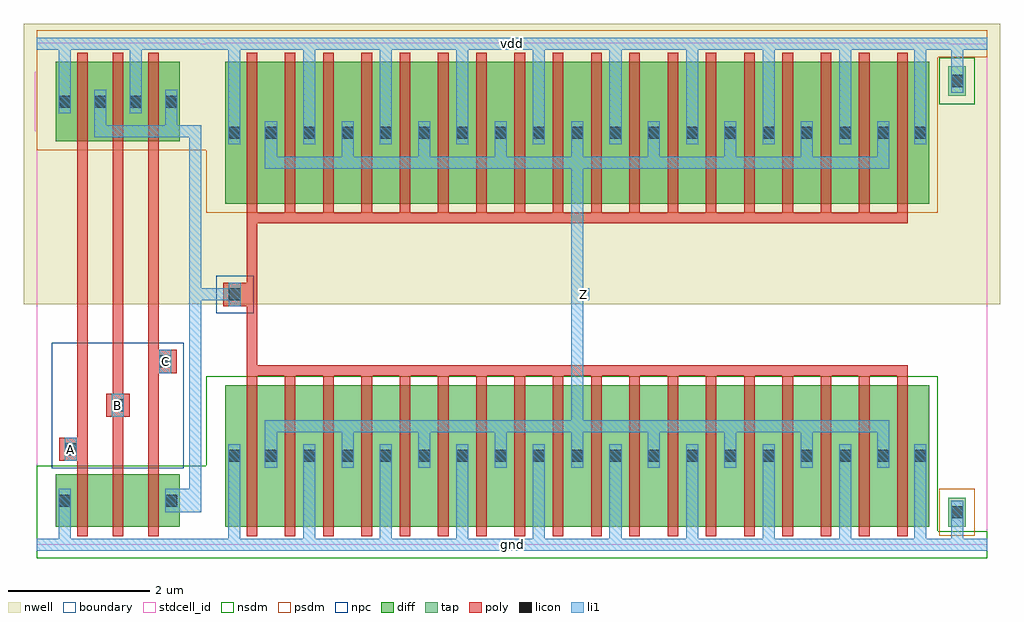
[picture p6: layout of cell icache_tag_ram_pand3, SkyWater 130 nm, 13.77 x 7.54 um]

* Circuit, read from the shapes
.subckt icache_tag_ram_pand3 A B C Z gnd vdd
XM1 icache_tag_ram_pnand3_0/icache_tag_ram_nmos_m1_w0_740_sli_dactive_3/D A gnd gnd sky130_fd_pr__nfet_01v8 w=0.74 l=0.15
XM2 icache_tag_ram_pnand3_0/icache_tag_ram_nmos_m1_w0_740_sactive_dactive_4/D B icache_tag_ram_pnand3_0/icache_tag_ram_nmos_m1_w0_740_sli_dactive_3/D gnd sky130_fd_pr__nfet_01v8 w=0.74 l=0.15
XM3 icache_tag_ram_pdriver_2_1/A C icache_tag_ram_pnand3_0/icache_tag_ram_nmos_m1_w0_740_sactive_dactive_4/D gnd sky130_fd_pr__nfet_01v8 w=0.74 l=0.15
XM4 Z icache_tag_ram_pdriver_2_1/A gnd gnd sky130_fd_pr__nfet_01v8 w=2 l=0.15 m=18
XM5 icache_tag_ram_pdriver_2_1/A A vdd vdd sky130_fd_pr__pfet_01v8 w=1.12 l=0.15
XM6 vdd B icache_tag_ram_pdriver_2_1/A vdd sky130_fd_pr__pfet_01v8 w=1.12 l=0.15
XM7 icache_tag_ram_pdriver_2_1/A C vdd vdd sky130_fd_pr__pfet_01v8 w=1.12 l=0.15
XM8 Z icache_tag_ram_pdriver_2_1/A vdd vdd sky130_fd_pr__pfet_01v8 w=2 l=0.15 m=18
.ends

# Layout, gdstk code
import gdstk
lib = gdstk.Library(unit=1e-6, precision=1e-09)
def R(c, l, rs):  # rectangles x0, y0, x1, y1
    for r in rs: c.add(gdstk.rectangle(r[:2], r[2:], *l))
def A(c, l, x, y, w, h, nx, ny, dx, dy):  # array of equal rectangles
    R(c, l, [(x+i*dx, y+j*dy, x+i*dx+w, y+j*dy+h) for i in range(nx) for j in range(ny)])
nwell = (64, 20)
diff = (65, 20)
tap = (65, 44)
poly = (66, 20)
licon = (66, 44)
li1 = (67, 20)
stdcell_id = (81, 4)
nsdm = (93, 44)
psdm = (94, 20)
npc = (95, 20)
boundary = (235, 4)

icache_tag_ram_contact_1 = lib.new_cell('icache_tag_ram_contact_11')
R(icache_tag_ram_contact_1, nwell, [(-0.295,-0.255,0.545,0.585)])
R(icache_tag_ram_contact_1, diff, [(0,0.02,0.25,0.31)])
R(icache_tag_ram_contact_1, licon, [(0.04,0.08,0.21,0.25)])
R(icache_tag_ram_contact_1, li1, [(0.04,0,0.21,0.33)])
R(icache_tag_ram_contact_1, stdcell_id, [(-0.295,-0.255,0.545,0.585)])
R(icache_tag_ram_contact_1, psdm, [(-0.125,-0.105,0.375,0.435)])
R(icache_tag_ram_contact_1, boundary, [(-0.295,-0.255,0.545,0.585)])

icache_tag_ram_pmos_m1_w = lib.new_cell('icache_tag_ram_pmos_m1_w1_120_sli_dli')
R(icache_tag_ram_pmos_m1_w, nwell, [(-0.27,-0.27,1.02,1.39)])
R(icache_tag_ram_pmos_m1_w, diff, [(0,0,0.75,1.12)])
R(icache_tag_ram_pmos_m1_w, poly, [(0.3,-0.13,0.45,1.25), (0.3,-0.13,0.45,1.25)])
R(icache_tag_ram_pmos_m1_w, li1, [(0.04,0.395,0.21,0.725), (0.54,0.395,0.71,0.725)])
R(icache_tag_ram_pmos_m1_w, stdcell_id, [(-0.27,-0.27,1.02,1.39)])
R(icache_tag_ram_pmos_m1_w, psdm, [(-0.125,-0.125,0.875,1.245)])
R(icache_tag_ram_pmos_m1_w, boundary, [(-0.27,-0.27,1.02,1.39)])
icache_tag_ram_pmos_m1_w.add(gdstk.Reference(icache_tag_ram_contact_1, (0,0.395)))
icache_tag_ram_pmos_m1_w.add(gdstk.Reference(icache_tag_ram_contact_1, (0.5,0.395)))
icache_tag_ram_pmos_m1_w.add(gdstk.Label('G', (0.375,0.56), layer=66, texttype=5))
icache_tag_ram_pmos_m1_w.add(gdstk.Label('S', (0.125,0.56), layer=67, texttype=5))
icache_tag_ram_pmos_m1_w.add(gdstk.Label('D', (0.625,0.56), layer=67, texttype=5))

c_icache_tag_ram_contact_1 = lib.new_cell('icache_tag_ram_contact_10')
R(c_icache_tag_ram_contact_1, diff, [(0,0.02,0.25,0.31)])
R(c_icache_tag_ram_contact_1, licon, [(0.04,0.08,0.21,0.25)])
R(c_icache_tag_ram_contact_1, li1, [(0.04,0,0.21,0.33)])
R(c_icache_tag_ram_contact_1, stdcell_id, [(-0.125,-0.105,0.375,0.435)])
R(c_icache_tag_ram_contact_1, nsdm, [(-0.125,-0.105,0.375,0.435)])
R(c_icache_tag_ram_contact_1, boundary, [(-0.125,-0.105,0.375,0.435)])

icache_tag_ram_nmos_m1_w = lib.new_cell('icache_tag_ram_nmos_m1_w0_740_sli_dactive')
R(icache_tag_ram_nmos_m1_w, diff, [(0,0,0.75,0.74), (0.55,0.295,0.7,0.445)])
R(icache_tag_ram_nmos_m1_w, poly, [(0.3,-0.13,0.45,0.87), (0.3,-0.13,0.45,0.87)])
R(icache_tag_ram_nmos_m1_w, li1, [(0.04,0.205,0.21,0.535)])
R(icache_tag_ram_nmos_m1_w, stdcell_id, [(-0.125,-0.13,0.875,0.87)])
R(icache_tag_ram_nmos_m1_w, nsdm, [(-0.125,-0.125,0.875,0.865)])
R(icache_tag_ram_nmos_m1_w, boundary, [(-0.125,-0.13,0.875,0.87)])
icache_tag_ram_nmos_m1_w.add(gdstk.Reference(c_icache_tag_ram_contact_1, (0,0.205)))
icache_tag_ram_nmos_m1_w.add(gdstk.Label('G', (0.375,0.37), layer=66, texttype=5))
icache_tag_ram_nmos_m1_w.add(gdstk.Label('S', (0.125,0.37), layer=67, texttype=5))
icache_tag_ram_nmos_m1_w.add(gdstk.Label('D', (0.625,0.37), layer=65, texttype=5))

c_icache_tag_ram_nmos_m1_w = lib.new_cell('icache_tag_ram_nmos_m1_w0_740_sactive_dactive')
R(c_icache_tag_ram_nmos_m1_w, diff, [(0,0,0.75,0.74), (0.05,0.295,0.2,0.445), (0.55,0.295,0.7,0.445)])
R(c_icache_tag_ram_nmos_m1_w, poly, [(0.3,-0.13,0.45,0.87), (0.3,-0.13,0.45,0.87)])
R(c_icache_tag_ram_nmos_m1_w, stdcell_id, [(-0.125,-0.13,0.875,0.87)])
R(c_icache_tag_ram_nmos_m1_w, nsdm, [(-0.125,-0.125,0.875,0.865)])
R(c_icache_tag_ram_nmos_m1_w, boundary, [(-0.125,-0.13,0.875,0.87)])
c_icache_tag_ram_nmos_m1_w.add(gdstk.Label('G', (0.375,0.37), layer=66, texttype=5))
c_icache_tag_ram_nmos_m1_w.add(gdstk.Label('S', (0.125,0.37), layer=65, texttype=5))
c_icache_tag_ram_nmos_m1_w.add(gdstk.Label('D', (0.625,0.37), layer=65, texttype=5))

c_icache_tag_ram_nmos_m1_w_ = lib.new_cell('icache_tag_ram_nmos_m1_w0_740_sactive_dli')
R(c_icache_tag_ram_nmos_m1_w_, diff, [(0,0,0.75,0.74), (0.05,0.295,0.2,0.445)])
R(c_icache_tag_ram_nmos_m1_w_, poly, [(0.3,-0.13,0.45,0.87), (0.3,-0.13,0.45,0.87)])
R(c_icache_tag_ram_nmos_m1_w_, li1, [(0.54,0.205,0.71,0.535)])
R(c_icache_tag_ram_nmos_m1_w_, stdcell_id, [(-0.125,-0.13,0.875,0.87)])
R(c_icache_tag_ram_nmos_m1_w_, nsdm, [(-0.125,-0.125,0.875,0.865)])
R(c_icache_tag_ram_nmos_m1_w_, boundary, [(-0.125,-0.13,0.875,0.87)])
c_icache_tag_ram_nmos_m1_w_.add(gdstk.Reference(c_icache_tag_ram_contact_1, (0.5,0.205)))
c_icache_tag_ram_nmos_m1_w_.add(gdstk.Label('G', (0.375,0.37), layer=66, texttype=5))
c_icache_tag_ram_nmos_m1_w_.add(gdstk.Label('S', (0.125,0.37), layer=65, texttype=5))
c_icache_tag_ram_nmos_m1_w_.add(gdstk.Label('D', (0.625,0.37), layer=67, texttype=5))

c_icache_tag_ram_contact_1_ = lib.new_cell('icache_tag_ram_contact_15')
R(c_icache_tag_ram_contact_1_, poly, [(0,0,0.33,0.33)])
R(c_icache_tag_ram_contact_1_, licon, [(0.08,0.08,0.25,0.25)])
R(c_icache_tag_ram_contact_1_, li1, [(0.08,0,0.25,0.33)])
R(c_icache_tag_ram_contact_1_, stdcell_id, [(-0.1,-0.1,0.43,0.43)])
R(c_icache_tag_ram_contact_1_, npc, [(-0.1,-0.1,0.43,0.43)])
R(c_icache_tag_ram_contact_1_, boundary, [(-0.1,-0.1,0.43,0.43)])

icache_tag_ram_pnand3 = lib.new_cell('icache_tag_ram_pnand3')
R(icache_tag_ram_pnand3, nwell, [(-0.18,3.395,2.57,7.355)])
A(icache_tag_ram_pnand3, poly, 0.57, 1.125, 0.15, 4.44, 3, 1, 0.5, 0)
R(icache_tag_ram_pnand3, poly, [(0.48,1.185,0.57,1.515), (1.07,1.805,1.145,2.135), (1.57,2.425,1.81,2.755)])
R(icache_tag_ram_pnand3, li1, [(0,-0.085,2.39,0.085), (0.31,-0.085,0.48,0.46), (1.895,0.46,2.235,0.79), (2.15,0.46,2.32,5.835), (0.395,1.185,0.565,1.515), (1.06,1.805,1.23,2.135), (1.725,2.425,1.895,2.755), (0.81,5.75,0.98,5.92), (0.895,5.75,2.235,5.92), (1.81,5.75,1.98,5.92), (1.895,5.75,2.235,5.92), (2.15,5.75,2.32,5.92), (0.81,5.835,0.98,6.255), (1.81,5.835,1.98,6.255), (0.31,6.09,0.48,7.155), (1.31,6.09,1.48,7.155), (0,6.985,2.39,7.155)])
R(icache_tag_ram_pnand3, stdcell_id, [(0,0,2.39,7.07), (0,0,2.39,7.07)])
R(icache_tag_ram_pnand3, nsdm, [(0,-0.19,2.39,0.19), (0,0,2.39,1.12)])
R(icache_tag_ram_pnand3, psdm, [(0,5.57,2.39,7.07), (0,6.88,2.39,7.26)])
R(icache_tag_ram_pnand3, npc, [(0.215,1.085,2.075,2.855)])
R(icache_tag_ram_pnand3, boundary, [(0,0,2.39,7.07), (0,0,2.39,7.07)])
icache_tag_ram_pnand3.add(gdstk.Reference(icache_tag_ram_pmos_m1_w, (0.27,5.695)))
icache_tag_ram_pnand3.add(gdstk.Reference(icache_tag_ram_pmos_m1_w, (0.77,5.695)))
icache_tag_ram_pnand3.add(gdstk.Reference(icache_tag_ram_pmos_m1_w, (1.27,5.695)))
icache_tag_ram_pnand3.add(gdstk.Reference(icache_tag_ram_nmos_m1_w, (0.27,0.255)))
icache_tag_ram_pnand3.add(gdstk.Reference(c_icache_tag_ram_nmos_m1_w, (0.77,0.255)))
icache_tag_ram_pnand3.add(gdstk.Reference(c_icache_tag_ram_nmos_m1_w_, (1.27,0.255)))
icache_tag_ram_pnand3.add(gdstk.Reference(c_icache_tag_ram_contact_1_, (0.315,1.185)))
icache_tag_ram_pnand3.add(gdstk.Reference(c_icache_tag_ram_contact_1_, (0.98,1.805)))
icache_tag_ram_pnand3.add(gdstk.Reference(c_icache_tag_ram_contact_1_, (1.645,2.425)))
icache_tag_ram_pnand3.add(gdstk.Label('A', (0.48,1.35), layer=67, texttype=5))
icache_tag_ram_pnand3.add(gdstk.Label('B', (1.145,1.97), layer=67, texttype=5))
icache_tag_ram_pnand3.add(gdstk.Label('C', (1.81,2.59), layer=67, texttype=5))
icache_tag_ram_pnand3.add(gdstk.Label('Z', (2.235,5.835), layer=67, texttype=5))
icache_tag_ram_pnand3.add(gdstk.Label('gnd', (1.195,0), layer=67, texttype=5))
icache_tag_ram_pnand3.add(gdstk.Label('vdd', (1.195,7.07), layer=67, texttype=5))

icache_tag_ram_pmos_m18_ = lib.new_cell('icache_tag_ram_pmos_m18_w2_000_sli_dli_da_p')
R(icache_tag_ram_pmos_m18_, nwell, [(-0.27,-0.27,10.2,2.27)])
R(icache_tag_ram_pmos_m18_, diff, [(0,0,9.93,2)])
A(icache_tag_ram_pmos_m18_, poly, 0.3, -0.13, 0.15, 2.26, 18, 1, 0.54, 0)
R(icache_tag_ram_pmos_m18_, poly, [(0.3,-0.28,9.63,-0.13)])
A(icache_tag_ram_pmos_m18_, li1, 0.56, 0.58, 0.17, 0.42, 9, 1, 1.08, 0)
A(icache_tag_ram_pmos_m18_, li1, 1.1, 0.835, 0.17, 0.33, 8, 1, 1.08, 0)
R(icache_tag_ram_pmos_m18_, li1, [(0.56,0.495,9.37,0.665), (0.04,0.835,0.21,1.165), (9.72,0.835,9.89,1.165)])
R(icache_tag_ram_pmos_m18_, stdcell_id, [(-0.27,-0.28,10.2,2.27)])
R(icache_tag_ram_pmos_m18_, psdm, [(-0.125,-0.125,10.055,2.125)])
R(icache_tag_ram_pmos_m18_, boundary, [(-0.27,-0.28,10.2,2.27)])
icache_tag_ram_pmos_m18_.add(gdstk.Reference(icache_tag_ram_contact_1, (0,0.835)))
icache_tag_ram_pmos_m18_.add(gdstk.Reference(icache_tag_ram_contact_1, (0.52,0.835)))
icache_tag_ram_pmos_m18_.add(gdstk.Reference(icache_tag_ram_contact_1, (1.06,0.835)))
icache_tag_ram_pmos_m18_.add(gdstk.Reference(icache_tag_ram_contact_1, (1.6,0.835)))
icache_tag_ram_pmos_m18_.add(gdstk.Reference(icache_tag_ram_contact_1, (2.14,0.835)))
icache_tag_ram_pmos_m18_.add(gdstk.Reference(icache_tag_ram_contact_1, (2.68,0.835)))
icache_tag_ram_pmos_m18_.add(gdstk.Reference(icache_tag_ram_contact_1, (3.22,0.835)))
icache_tag_ram_pmos_m18_.add(gdstk.Reference(icache_tag_ram_contact_1, (3.76,0.835)))
icache_tag_ram_pmos_m18_.add(gdstk.Reference(icache_tag_ram_contact_1, (4.3,0.835)))
icache_tag_ram_pmos_m18_.add(gdstk.Reference(icache_tag_ram_contact_1, (4.84,0.835)))
icache_tag_ram_pmos_m18_.add(gdstk.Reference(icache_tag_ram_contact_1, (5.38,0.835)))
icache_tag_ram_pmos_m18_.add(gdstk.Reference(icache_tag_ram_contact_1, (5.92,0.835)))
icache_tag_ram_pmos_m18_.add(gdstk.Reference(icache_tag_ram_contact_1, (6.46,0.835)))
icache_tag_ram_pmos_m18_.add(gdstk.Reference(icache_tag_ram_contact_1, (7,0.835)))
icache_tag_ram_pmos_m18_.add(gdstk.Reference(icache_tag_ram_contact_1, (7.54,0.835)))
icache_tag_ram_pmos_m18_.add(gdstk.Reference(icache_tag_ram_contact_1, (8.08,0.835)))
icache_tag_ram_pmos_m18_.add(gdstk.Reference(icache_tag_ram_contact_1, (8.62,0.835)))
icache_tag_ram_pmos_m18_.add(gdstk.Reference(icache_tag_ram_contact_1, (9.16,0.835)))
icache_tag_ram_pmos_m18_.add(gdstk.Reference(icache_tag_ram_contact_1, (9.68,0.835)))
icache_tag_ram_pmos_m18_.add(gdstk.Label('G', (4.965,-0.205), layer=66, texttype=5))
icache_tag_ram_pmos_m18_.add(gdstk.Label('S', (4.425,1), layer=67, texttype=5))
icache_tag_ram_pmos_m18_.add(gdstk.Label('S', (2.265,1), layer=67, texttype=5))
icache_tag_ram_pmos_m18_.add(gdstk.Label('S', (7.665,1), layer=67, texttype=5))
icache_tag_ram_pmos_m18_.add(gdstk.Label('S', (8.745,1), layer=67, texttype=5))
icache_tag_ram_pmos_m18_.add(gdstk.Label('S', (9.805,1), layer=67, texttype=5))
icache_tag_ram_pmos_m18_.add(gdstk.Label('S', (5.505,1), layer=67, texttype=5))
icache_tag_ram_pmos_m18_.add(gdstk.Label('S', (0.125,1), layer=67, texttype=5))
icache_tag_ram_pmos_m18_.add(gdstk.Label('S', (3.345,1), layer=67, texttype=5))
icache_tag_ram_pmos_m18_.add(gdstk.Label('S', (1.185,1), layer=67, texttype=5))
icache_tag_ram_pmos_m18_.add(gdstk.Label('S', (6.585,1), layer=67, texttype=5))
icache_tag_ram_pmos_m18_.add(gdstk.Label('D', (4.965,0.58), layer=67, texttype=5))

icache_tag_ram_nmos_m18_ = lib.new_cell('icache_tag_ram_nmos_m18_w2_000_sli_dli_da_p')
R(icache_tag_ram_nmos_m18_, diff, [(0,0,9.93,2)])
A(icache_tag_ram_nmos_m18_, poly, 0.3, -0.13, 0.15, 2.26, 18, 1, 0.54, 0)
R(icache_tag_ram_nmos_m18_, poly, [(0.3,2.13,9.63,2.28)])
A(icache_tag_ram_nmos_m18_, li1, 1.1, 0.835, 0.17, 0.33, 8, 1, 1.08, 0)
A(icache_tag_ram_nmos_m18_, li1, 0.56, 1, 0.17, 0.42, 9, 1, 1.08, 0)
R(icache_tag_ram_nmos_m18_, li1, [(0.04,0.835,0.21,1.165), (9.72,0.835,9.89,1.165), (0.56,1.335,9.37,1.505)])
R(icache_tag_ram_nmos_m18_, stdcell_id, [(-0.125,-0.13,10.055,2.28)])
R(icache_tag_ram_nmos_m18_, nsdm, [(-0.125,-0.125,10.055,2.125)])
R(icache_tag_ram_nmos_m18_, boundary, [(-0.125,-0.13,10.055,2.28)])
icache_tag_ram_nmos_m18_.add(gdstk.Reference(c_icache_tag_ram_contact_1, (0,0.835)))
icache_tag_ram_nmos_m18_.add(gdstk.Reference(c_icache_tag_ram_contact_1, (0.52,0.835)))
icache_tag_ram_nmos_m18_.add(gdstk.Reference(c_icache_tag_ram_contact_1, (1.06,0.835)))
icache_tag_ram_nmos_m18_.add(gdstk.Reference(c_icache_tag_ram_contact_1, (1.6,0.835)))
icache_tag_ram_nmos_m18_.add(gdstk.Reference(c_icache_tag_ram_contact_1, (2.14,0.835)))
icache_tag_ram_nmos_m18_.add(gdstk.Reference(c_icache_tag_ram_contact_1, (2.68,0.835)))
icache_tag_ram_nmos_m18_.add(gdstk.Reference(c_icache_tag_ram_contact_1, (3.22,0.835)))
icache_tag_ram_nmos_m18_.add(gdstk.Reference(c_icache_tag_ram_contact_1, (3.76,0.835)))
icache_tag_ram_nmos_m18_.add(gdstk.Reference(c_icache_tag_ram_contact_1, (4.3,0.835)))
icache_tag_ram_nmos_m18_.add(gdstk.Reference(c_icache_tag_ram_contact_1, (4.84,0.835)))
icache_tag_ram_nmos_m18_.add(gdstk.Reference(c_icache_tag_ram_contact_1, (5.38,0.835)))
icache_tag_ram_nmos_m18_.add(gdstk.Reference(c_icache_tag_ram_contact_1, (5.92,0.835)))
icache_tag_ram_nmos_m18_.add(gdstk.Reference(c_icache_tag_ram_contact_1, (6.46,0.835)))
icache_tag_ram_nmos_m18_.add(gdstk.Reference(c_icache_tag_ram_contact_1, (7,0.835)))
icache_tag_ram_nmos_m18_.add(gdstk.Reference(c_icache_tag_ram_contact_1, (7.54,0.835)))
icache_tag_ram_nmos_m18_.add(gdstk.Reference(c_icache_tag_ram_contact_1, (8.08,0.835)))
icache_tag_ram_nmos_m18_.add(gdstk.Reference(c_icache_tag_ram_contact_1, (8.62,0.835)))
icache_tag_ram_nmos_m18_.add(gdstk.Reference(c_icache_tag_ram_contact_1, (9.16,0.835)))
icache_tag_ram_nmos_m18_.add(gdstk.Reference(c_icache_tag_ram_contact_1, (9.68,0.835)))
icache_tag_ram_nmos_m18_.add(gdstk.Label('G', (4.965,2.205), layer=66, texttype=5))
icache_tag_ram_nmos_m18_.add(gdstk.Label('S', (4.425,1), layer=67, texttype=5))
icache_tag_ram_nmos_m18_.add(gdstk.Label('S', (2.265,1), layer=67, texttype=5))
icache_tag_ram_nmos_m18_.add(gdstk.Label('S', (7.665,1), layer=67, texttype=5))
icache_tag_ram_nmos_m18_.add(gdstk.Label('S', (8.745,1), layer=67, texttype=5))
icache_tag_ram_nmos_m18_.add(gdstk.Label('S', (9.805,1), layer=67, texttype=5))
icache_tag_ram_nmos_m18_.add(gdstk.Label('S', (5.505,1), layer=67, texttype=5))
icache_tag_ram_nmos_m18_.add(gdstk.Label('S', (0.125,1), layer=67, texttype=5))
icache_tag_ram_nmos_m18_.add(gdstk.Label('S', (3.345,1), layer=67, texttype=5))
icache_tag_ram_nmos_m18_.add(gdstk.Label('S', (1.185,1), layer=67, texttype=5))
icache_tag_ram_nmos_m18_.add(gdstk.Label('S', (6.585,1), layer=67, texttype=5))
icache_tag_ram_nmos_m18_.add(gdstk.Label('D', (4.965,1.42), layer=67, texttype=5))

icache_tag_ram_contact_2 = lib.new_cell('icache_tag_ram_contact_24')
R(icache_tag_ram_contact_2, nwell, [(-0.295,-0.215,0.545,0.625)])
R(icache_tag_ram_contact_2, tap, [(0,0,0.25,0.41)])
R(icache_tag_ram_contact_2, licon, [(0.04,0.12,0.21,0.29)])
R(icache_tag_ram_contact_2, li1, [(0.04,0.04,0.21,0.37)])
R(icache_tag_ram_contact_2, stdcell_id, [(-0.295,-0.215,0.545,0.625)])
R(icache_tag_ram_contact_2, nsdm, [(-0.125,-0.125,0.375,0.535)])
R(icache_tag_ram_contact_2, boundary, [(-0.295,-0.215,0.545,0.625)])

c_icache_tag_ram_contact_2 = lib.new_cell('icache_tag_ram_contact_25')
R(c_icache_tag_ram_contact_2, tap, [(0,0,0.25,0.41)])
R(c_icache_tag_ram_contact_2, licon, [(0.04,0.12,0.21,0.29)])
R(c_icache_tag_ram_contact_2, li1, [(0.04,0.04,0.21,0.37)])
R(c_icache_tag_ram_contact_2, stdcell_id, [(-0.125,-0.125,0.375,0.535)])
R(c_icache_tag_ram_contact_2, psdm, [(-0.125,-0.125,0.375,0.535)])
R(c_icache_tag_ram_contact_2, boundary, [(-0.125,-0.125,0.375,0.535)])

icache_tag_ram_pinv_11 = lib.new_cell('icache_tag_ram_pinv_11')
R(icache_tag_ram_pinv_11, nwell, [(-0.18,3.395,11.2,7.355)])
R(icache_tag_ram_pinv_11, poly, [(0.57,2.535,0.72,4.535), (0.405,3.37,0.57,3.7)])
A(icache_tag_ram_pinv_11, li1, 1.37, -0.085, 0.17, 1.175, 8, 1, 1.08, 0)
A(icache_tag_ram_pinv_11, li1, 1.37, 5.65, 0.17, 1.505, 8, 1, 1.08, 0)
R(icache_tag_ram_pinv_11, li1, [(0,-0.085,11.02,0.085), (0.31,-0.085,0.48,1.09), (9.99,-0.085,10.16,1.09), (10.51,0,10.68,0.46), (5.15,1.59,5.32,5.48), (0.32,3.37,0.49,3.7), (5.235,3.45,5.405,3.62), (0.31,5.65,0.48,7.155), (9.99,5.65,10.16,7.155), (10.51,6.545,10.68,7.07), (0,6.985,11.02,7.155)])
R(icache_tag_ram_pinv_11, stdcell_id, [(0,0,11.02,7.07), (0,0,11.02,7.07)])
R(icache_tag_ram_pinv_11, nsdm, [(0,-0.19,11.02,0.19), (0,0,10.325,2.38)])
R(icache_tag_ram_pinv_11, psdm, [(0,4.69,10.325,7.07), (0,6.88,11.02,7.26)])
R(icache_tag_ram_pinv_11, boundary, [(0,0,11.02,7.07), (0,0,11.02,7.07)])
icache_tag_ram_pinv_11.add(gdstk.Reference(icache_tag_ram_pmos_m18_, (0.27,4.815)))
icache_tag_ram_pinv_11.add(gdstk.Reference(icache_tag_ram_nmos_m18_, (0.27,0.255)))
icache_tag_ram_pinv_11.add(gdstk.Reference(icache_tag_ram_contact_2, (10.47,6.34)))
icache_tag_ram_pinv_11.add(gdstk.Reference(c_icache_tag_ram_contact_2, (10.47,0.255)))
icache_tag_ram_pinv_11.add(gdstk.Reference(c_icache_tag_ram_contact_1_, (0.24,3.37)))
icache_tag_ram_pinv_11.add(gdstk.Label('A', (0.405,3.535), layer=67, texttype=5))
icache_tag_ram_pinv_11.add(gdstk.Label('Z', (5.32,3.535), layer=67, texttype=5))
icache_tag_ram_pinv_11.add(gdstk.Label('gnd', (5.51,0), layer=67, texttype=5))
icache_tag_ram_pinv_11.add(gdstk.Label('vdd', (5.51,7.07), layer=67, texttype=5))

icache_tag_ram_pdriver_2 = lib.new_cell('icache_tag_ram_pdriver_2')
R(icache_tag_ram_pdriver_2, nwell, [(-0.18,3.395,11.2,7.355)])
R(icache_tag_ram_pdriver_2, li1, [(0,-0.085,11.02,0.085), (0.32,3.37,0.49,3.7), (5.235,3.45,5.405,3.62), (0,6.985,11.02,7.155)])
R(icache_tag_ram_pdriver_2, stdcell_id, [(0,0,11.02,7.07), (0,0,11.02,7.07)])
R(icache_tag_ram_pdriver_2, nsdm, [(0,-0.19,11.02,0.19)])
R(icache_tag_ram_pdriver_2, psdm, [(0,6.88,11.02,7.26)])
R(icache_tag_ram_pdriver_2, boundary, [(0,0,11.02,7.07), (0,0,11.02,7.07)])
icache_tag_ram_pdriver_2.add(gdstk.Reference(icache_tag_ram_pinv_11, (0,0)))
icache_tag_ram_pdriver_2.add(gdstk.Label('Z', (5.32,3.535), layer=67, texttype=5))
icache_tag_ram_pdriver_2.add(gdstk.Label('A', (0.405,3.535), layer=67, texttype=5))
icache_tag_ram_pdriver_2.add(gdstk.Label('gnd', (5.51,0), layer=67, texttype=5))
icache_tag_ram_pdriver_2.add(gdstk.Label('vdd', (5.51,7.07), layer=67, texttype=5))

icache_tag_ram_pand3 = lib.new_cell('icache_tag_ram_pand3')
R(icache_tag_ram_pand3, li1, [(0,-0.085,13.41,0.085), (0.395,1.185,0.565,1.515), (1.06,1.805,1.23,2.135), (1.725,2.425,1.895,2.755), (2.15,3.45,2.32,3.62), (2.235,3.45,2.795,3.62), (7.625,3.45,7.795,3.62), (2.15,3.535,2.32,5.835), (0,6.985,13.41,7.155)])
R(icache_tag_ram_pand3, stdcell_id, [(0,0,13.41,7.07), (0,0,13.41,7.07)])
R(icache_tag_ram_pand3, boundary, [(0,0,13.41,7.07), (0,0,13.41,7.07)])
icache_tag_ram_pand3.add(gdstk.Reference(icache_tag_ram_pnand3, (0,0)))
icache_tag_ram_pand3.add(gdstk.Reference(icache_tag_ram_pdriver_2, (2.39,0)))
icache_tag_ram_pand3.add(gdstk.Label('Z', (7.71,3.535), layer=67, texttype=5))
icache_tag_ram_pand3.add(gdstk.Label('A', (0.48,1.35), layer=67, texttype=5))
icache_tag_ram_pand3.add(gdstk.Label('B', (1.145,1.97), layer=67, texttype=5))
icache_tag_ram_pand3.add(gdstk.Label('C', (1.81,2.59), layer=67, texttype=5))
icache_tag_ram_pand3.add(gdstk.Label('gnd', (6.705,0), layer=67, texttype=5))
icache_tag_ram_pand3.add(gdstk.Label('vdd', (6.705,7.07), layer=67, texttype=5))

lib.write_gds('icache_tag_ram_pand3.gds')
